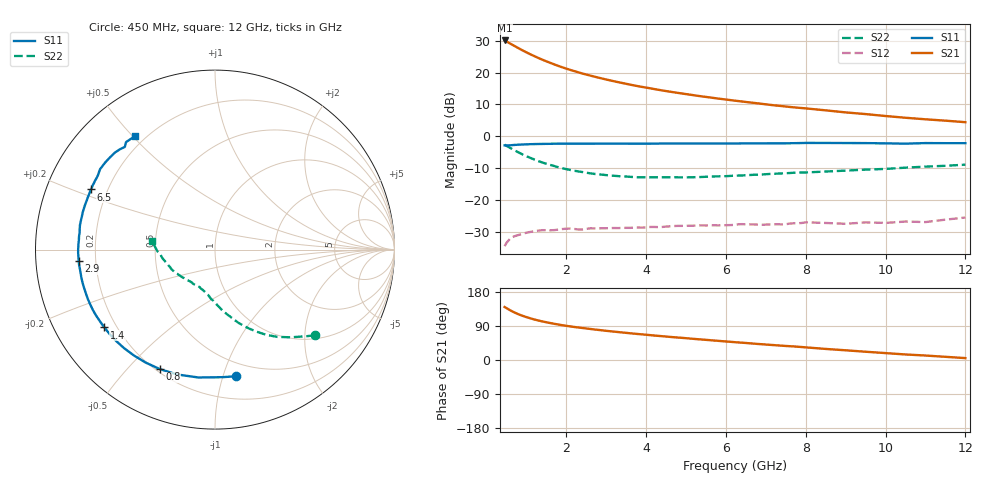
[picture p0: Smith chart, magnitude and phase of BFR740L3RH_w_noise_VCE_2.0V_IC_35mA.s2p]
! Infineon Technologies  Discrete & RF Semiconductors
! BFR740L3RH
! VCE =  2.0 V,  IC =  35 mA
! Common Emitter S-Parameters:  May 2012
# GHz  S  MA  R  50
!  f  S11  S21  S12  S22
! GHz  MAG  ANG  MAG  ANG  MAG  ANG  MAG  ANG
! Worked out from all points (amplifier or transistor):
!   85 points, 450 MHz to 12 GHz, reference 50 ohm
!   highest |S21| = 30.1 dB at 450 MHz (marker M1)
!   |S21| within 3 dB of that: start of sweep to 882.4 MHz
!   unconditionally stable (mu >= 1): 4.627 GHz to end of sweep
!   at 1.8 GHz: K = 0.41, MSG = 25.7 dB, |S12| = -29.4 dB
!   at 4.6 GHz: K = 1.00, MSG = 21.2 dB, |S12| = -28.4 dB
!   at 12 GHz: K = 2.14, MAG = 8.9 dB, |S12| = -25.6 dB
!   lowest NFmin = 1.30 dB at 450 MHz
!   S11 on the Smith chart (normalised r, x): 450 MHz: 0.38, -1.10; 800 MHz: 0.21, -0.62; 1.4 GHz: 0.15, -0.31; 2.9 GHz: 0.14, -0.04; 6.5 GHz: 0.14, +0.23; 12 GHz: 0.16, +0.51
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0.45  0.7149 -80.7  31.94 139.9  0.0186 54.8  0.734 -40.6
0.6  0.7185 -97.4  28.31 130.6  0.0249 45.9  0.6456 -49.2
0.7  0.727 -106.9  26.12 125.3  0.0267 42.4  0.5973 -54.5
0.8  0.7334 -114.8  24.1 120.6  0.0279 38.6  0.554 -59.0
0.9  0.7386 -121.6  22.31 116.6  0.0292 35.8  0.5155 -62.8
1  0.743 -127.5  20.72 113.0  0.0303 33.7  0.4824 -66.3
1.1  0.747 -132.6  19.3 109.8  0.0312 31.3  0.4537 -69.4
1.2  0.75 -137.1  18.04 106.8  0.032 29.3  0.4278 -72.3
1.4  0.7538 -144.9  15.88 101.7  0.0332 29.3  0.384 -77.1
1.6  0.7577 -151.0  14.15 97.4  0.033 26.2  0.3519 -81.6
1.8  0.7594 -156.3  12.68 93.5  0.034 23.8  0.3239 -85.4
2.1  0.7597 -162.7  10.98 88.6  0.0352 23.5  0.2929 -90.4
2.4  0.7607 -167.9  9.65 84.5  0.034 20.8  0.2723 -95.3
2.9  0.7618 -175.1  8.032 78.2  0.0356 22.4  0.2477 -101.7
3.6  0.7607 176.8  6.443 70.5  0.0361 21.7  0.2291 -110.7
4.3  0.7637 170.5  5.36 63.7  0.0371 23.6  0.2251 -118.5
5.3  0.7656 162.2  4.297 54.8  0.0395 23.4  0.2267 -129.8
6.3  0.767 155.3  3.564 46.4  0.041 25.6  0.2397 -140.7
6.5  0.7678 154.1  3.443 44.9  0.041 25.1  0.2424 -143.1
8.5  0.7808 141.4  2.542 29.2  0.0431 27.1  0.2775 -163.0
10.5  0.7613 131.3  1.944 14.6  0.0454 32.4  0.3194 -177.9
12  0.7739 125.2  1.656 5.0  0.0525 38.7  0.3557 172.3
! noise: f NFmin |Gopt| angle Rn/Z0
0.45  1.3  0.15  179  0.12
0.9  1.31  0.15  177  0.12
1.5  1.33  0.16  175  0.11
1.9  1.34  0.17  174  0.11
2.4  1.37  0.18  175  0.11
3.5  1.44  0.19  176  0.11
5.5  1.61  0.25  180  0.1
8  1.88  0.31  -164  0.12
10  2.1  0.33  -150  0.16
12  2.33  0.41  -128  0.26
